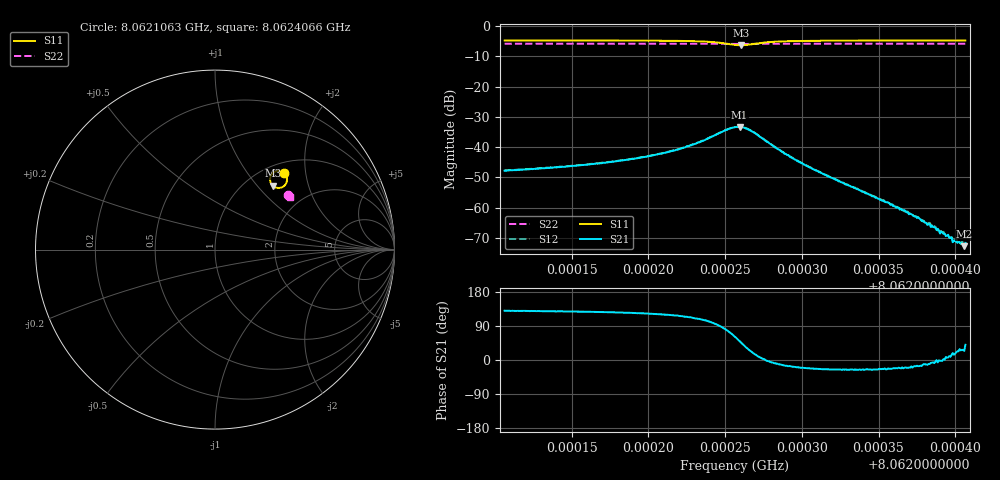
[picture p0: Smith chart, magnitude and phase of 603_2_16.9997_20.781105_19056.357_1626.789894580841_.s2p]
#  HZ  S  RI  R  50.00
! Rohde & Schwarz Vector Network Analyzer
! Rohde-Schwarz,ZNB20-2Port,1311601062101988,3.16
! Created: UTC 3/20/2024, 11:19:07 PM
! freq[Hz]  re:S11  im:S11  re:S21  im:S21  re:S12  im:S12  re:S22  im:S22
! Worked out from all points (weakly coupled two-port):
!   401 points, 8.0621063 GHz to 8.0624066 GHz, reference 50 ohm
!   highest |S21| = -33.34 dB at 8.0622595 GHz (marker M1); lowest = -72.7 dB at 8.0624059 GHz (marker M2)
!   lowest |S11| = -6.4 dB at 8.0622602 GHz (marker M3), VSWR 2.85, Z = 65.6 + j60.7 ohm
!   |S11| at or under -10 dB: nowhere
!   |S22| runs from -6.0 to -5.9 dB; largest |S21 - S12| = 0.0013
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8.06210632e9  0.3845 0.4288  -0.00264 0.00312  -0.00245 0.00334  0.4066 0.3055
8.06215662e9  0.39 0.4229  -0.00308 0.004  -0.00283 0.00421  0.4085 0.3028
8.06218139e9  0.3934 0.4179  -0.00342 0.00483  -0.0031 0.00514  0.4095 0.3014
8.06220692e9  0.3981 0.4092  -0.00393 0.00656  -0.00356 0.00689  0.4102 0.2996
8.06222719e9  0.4017 0.394  -0.00414 0.00975  -0.00346 0.0101  0.411 0.298
8.06224521e9  0.391 0.3609  -0.00072 0.0165  0.00019 0.0166  0.4106 0.2958
8.06225647e9  0.3432 0.3446  0.0104 0.0187  0.0113 0.0182  0.4086 0.2953
8.06225947e9  0.3258 0.3526  0.0139 0.0164  0.015 0.0159  0.4081 0.2957
8.06226022e9  0.3221 0.3558  0.0147 0.0155  0.0156 0.0148  0.408 0.2958
8.06226397e9  0.309 0.3759  0.0171 0.0108  0.0177 0.0101  0.4079 0.2967
8.06226773e9  0.3071 0.3967  0.0169 0.00618  0.0174 0.00529  0.4082 0.2975
8.06227749e9  0.3254 0.4285  0.0121 -0.000488  0.0123 -0.0012  0.4096 0.2981
8.062294e9  0.3521 0.4383  0.00625 -0.00199  0.00619 -0.00242  0.4115 0.2975
8.06230677e9  0.3626 0.4375  0.00407 -0.00168  0.00402 -0.00198  0.4125 0.2967
8.06235707e9  0.3795 0.4313  0.00109 -0.000471  0.00106 -0.000535  0.4148 0.2938
8.06237584e9  0.3828 0.4293  0.000664 -0.000195  0.000664 -0.00022  0.4154 0.2927
8.06238485e9  0.3839 0.4285  0.000497 -6.16e-05  0.000493 -0.000141  0.4158 0.2923
8.06239611e9  0.3854 0.4275  0.000315 5.67e-05  0.000331 -1.71e-05  0.4162 0.2915
8.06239986e9  0.3857 0.4272  0.000271 8.11e-05  0.000288 3.76e-05  0.4162 0.2914
8.06240286e9  0.3861 0.4271  0.000237 0.000129  0.000257 7.82e-05  0.4165 0.2912
8.06240587e9  0.3865 0.4268  0.000212 9.36e-05  0.000232 0.000127  0.4167 0.2911
8.06240662e9  0.3865 0.4267  0.0002 0.000169  0.000227 0.000115  0.4166 0.2909
